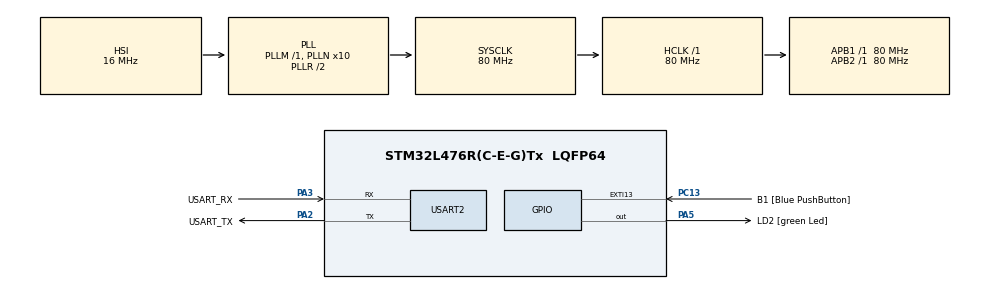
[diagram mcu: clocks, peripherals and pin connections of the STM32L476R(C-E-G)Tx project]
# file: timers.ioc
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Mcu.Family=STM32L4
Mcu.Name=STM32L476R(C-E-G)Tx
Mcu.Package=LQFP64
NVIC.PriorityGroup=NVIC_PRIORITYGROUP_4
NVIC.TIM6_DAC_IRQn=true\:0\:0\:false\:false\:true\:true\:true\:true
PA13\ (JTMS-SWDIO).GPIO_Label=TMS
PA13\ (JTMS-SWDIO).Mode=Serial_Wire
PA13\ (JTMS-SWDIO).Signal=SYS_JTMS-SWDIO
PA14\ (JTCK-SWCLK).GPIO_Label=TCK
PA14\ (JTCK-SWCLK).Mode=Serial_Wire
PA14\ (JTCK-SWCLK).Signal=SYS_JTCK-SWCLK
PA2.GPIO_Label=USART_TX
PA2.GPIO_Mode=GPIO_MODE_AF_PP
PA2.GPIO_PuPd=GPIO_NOPULL
PA2.GPIO_Speed=GPIO_SPEED_FREQ_VERY_HIGH
PA2.Mode=Asynchronous
PA2.Signal=USART2_TX
PA3.GPIO_Label=USART_RX
PA3.GPIO_Mode=GPIO_MODE_AF_PP
PA3.GPIO_PuPd=GPIO_NOPULL
PA3.GPIO_Speed=GPIO_SPEED_FREQ_VERY_HIGH
PA3.Mode=Asynchronous
PA3.Signal=USART2_RX
PA5.GPIO_Label=LD2 [green Led]
PA5.GPIO_ModeDefaultOutputPP=GPIO_MODE_OUTPUT_PP
PA5.GPIO_PuPd=GPIO_NOPULL
PA5.GPIO_Speed=GPIO_SPEED_FREQ_LOW
PA5.Signal=GPIO_Output
PB3\ (JTDO-TRACESWO).GPIO_Label=SWO
PB3\ (JTDO-TRACESWO).Signal=SYS_JTDO-SWO
PC13.GPIO_Label=B1 [Blue PushButton]
PC13.GPIO_ModeDefaultEXTI=GPIO_MODE_IT_FALLING
PC13.GPIO_PuPd=GPIO_NOPULL
PC13.Signal=GPXTI13
PC14-OSC32_IN\ (PC14).Mode=LSE-External-Oscillator
PC14-OSC32_IN\ (PC14).Signal=RCC_OSC32_IN
PC15-OSC32_OUT\ (PC15).Mode=LSE-External-Oscillator
PC15-OSC32_OUT\ (PC15).Signal=RCC_OSC32_OUT
PH0-OSC_IN\ (PH0).Signal=RCC_OSC_IN
PH1-OSC_OUT\ (PH1).Signal=RCC_OSC_OUT
ProjectManager.HeapSize=0x200
ProjectManager.StackSize=0x400
ProjectManager.TargetToolchain=STM32CubeIDE
RCC.ADCFreq_Value=64000000
RCC.AHBFreq_Value=80000000
RCC.APB1Freq_Value=80000000
RCC.APB1TimFreq_Value=80000000
RCC.APB2Freq_Value=80000000
RCC.APB2TimFreq_Value=80000000
RCC.CortexFreq_Value=80000000
RCC.HCLKFreq_Value=80000000
RCC.HSE_VALUE=8000000
RCC.HSI_VALUE=16000000
RCC.MSI_VALUE=4000000
RCC.PLLN=10
RCC.PLLSourceVirtual=RCC_PLLSOURCE_HSI
RCC.PREFETCH_ENABLE=1
RCC.SYSCLKFreq_VALUE=80000000
RCC.SYSCLKSource=RCC_SYSCLKSOURCE_PLLCLK
RCC.USBFreq_Value=64000000
RCC.VCOOutputFreq_Value=160000000
TIM6.Period=1999
TIM6.Prescaler=7999
USART2.VirtualMode-Asynchronous=VM_ASYNC
VP_TIM6_VS_ClockSourceINT.Mode=Enable_Timer
board=NUCLEO-L476RG

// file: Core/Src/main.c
/* USER CODE BEGIN Header */
/**
  ******************************************************************************
  * @file           : main.c
  * @brief          : Main program body
  ******************************************************************************
  * @attention
  *
  * Copyright (c) 2022 STMicroelectronics.
  * All rights reserved.
  *
  * This software is licensed under terms that can be found in the LICENSE file
  * in the root directory of this software component.
  * If no LICENSE file comes with this software, it is provided AS-IS.
  *
  ******************************************************************************
  */
/* USER CODE END Header */
#include "main.h"

/* USER CODE BEGIN Includes */
#include <stdio.h>
#include <string.h>
#include <stdlib.h>

/* USER CODE END Includes */

 TIM_HandleTypeDef htim6;

UART_HandleTypeDef huart2;

void SystemClock_Config(void);
static void MX_GPIO_Init(void);
static void MX_USART2_UART_Init(void);
static void MX_TIM6_Init(void);
/* USER CODE BEGIN PFP */
#define PUTCHAR_PROTOTYPE int __io_putchar(int ch)

/* USER CODE END PFP */

/* USER CODE BEGIN 0 */

/////////////////////////////////////////////////////////////////////////
// Led task definitions and functions
/////////////////////////////////////////////////////////////////////////

enum LedTaskState
{
	LedOn,
	LedOff,
};

enum LedTaskState ledState;
int ledCount;
int ledMaxCount;

void ledTask()
{
	if (ledState == LedOn)
	{
		if (ledCount++ >= ledMaxCount)
		{
			HAL_GPIO_TogglePin(LD2_GPIO_Port, LD2_Pin);
			ledCount = 0;
		}
	}
	else if (ledState == LedOff)
	{
		HAL_GPIO_WritePin(LD2_GPIO_Port, LD2_Pin, 0);
	}
}

void ledStart(int maxCount)
{
	ledState = LedOn;
	ledMaxCount = maxCount;
}

void ledStop()
{
	ledState = LedOff;
	HAL_GPIO_WritePin(LD2_GPIO_Port, LD2_Pin, 0);
}

/////////////////////////////////////////////////////////////////////////
// Communication task definitions and functions
/////////////////////////////////////////////////////////////////////////

#define MAX_BUFFER_LENGTH 100

uint8_t cmdbuffer[MAX_BUFFER_LENGTH];
int cmdcount = 0;

int commTask()
{
	uint8_t ch;

	HAL_StatusTypeDef Status = HAL_UART_Receive(&huart2, &ch, 1, 0);
	if (Status != HAL_OK) {
		return 0;
	}

	if (ch != '\r' && ch != '\n')
	{
		HAL_UART_Transmit(&huart2, &ch, 1, 0xFFFF);

		if (cmdcount >= MAX_BUFFER_LENGTH)
		{
			cmdcount = 0;
		}

		cmdbuffer[cmdcount++] = ch;
		return 0;
	}

	HAL_UART_Transmit(&huart2, (uint8_t*)"\r\n", 2, 0xFFFF);

	cmdbuffer[cmdcount] = 0;
	cmdcount = 0;
	return 1;
}

/////////////////////////////////////////////////////////////////////////
// REdirecting printf to UART
/////////////////////////////////////////////////////////////////////////
int _write(int fd, char* ptr, int len) {
    HAL_UART_Transmit(&huart2, (uint8_t *) ptr, len, HAL_MAX_DELAY);
    return len;
}

void handleCommand()
{
  char cmd[20];
  int maxCount = 20000;

  //int params = sscanf((const char*)cmdbuffer, "%s %d", cmd, &maxCount);
  int params = 0;

  char delim[2] = " ";
  char* res;

  res = strtok(cmdbuffer, delim);

  if(res == NULL)
  {
	  return;
  }

  while(res != NULL)
  {
	  if (strcmp(res, "start") == 0)
	  {
		  while(res != NULL)
		  {
			  res = strtok(NULL, delim);
			  maxCount = atoi(res);
			  if(maxCount > 0)
			  {
				  ledStart(maxCount);
				  return;
			  }

		  }
	  }
	  else if (strcmp(res, "stop") == 0)
	  {
		  ledStop();
		  return;
	  }

  }

  printf("Invalid command\r\n");

}

void HAL_TIM_PeriodElapsedCallback(TIM_HandleTypeDef * htim)
{

//		HAL_GPIO_TogglePin(LD2_GPIO_Port, LD2_Pin);
//		__HAL_TIM_SET_AUTORELOAD(&htim6, 5000);
//
//		printf("A\n\r");
}

/* USER CODE END 0 */

int main(void)
{

  /* MCU Configuration--------------------------------------------------------*/

  /* Reset of all peripherals, Initializes the Flash interface and the Systick. */
  HAL_Init();

  /* Configure the system clock */
  SystemClock_Config();

  /* Initialize all configured peripherals */
  MX_GPIO_Init();
  MX_USART2_UART_Init();
  MX_TIM6_Init();
  /* USER CODE BEGIN 2 */
  HAL_NVIC_EnableIRQ(TIM6_IRQn);

  HAL_TIM_Base_Start_IT(&htim6);
  /* USER CODE END 2 */

  /* Infinite loop */
  while (1)
  {
	  ledTask();
	  if (commTask())
	  {
		  handleCommand();
	  }
  }
}

void SystemClock_Config(void)
{
  RCC_OscInitTypeDef RCC_OscInitStruct = {0};
  RCC_ClkInitTypeDef RCC_ClkInitStruct = {0};

  /** Configure the main internal regulator output voltage
  */
  if (HAL_PWREx_ControlVoltageScaling(PWR_REGULATOR_VOLTAGE_SCALE1) != HAL_OK)
  {
    Error_Handler();
  }

  /** Initializes the RCC Oscillators according to the specified parameters
  * in the RCC_OscInitTypeDef structure.
  */
  RCC_OscInitStruct.OscillatorType = RCC_OSCILLATORTYPE_HSI;
  RCC_OscInitStruct.HSIState = RCC_HSI_ON;
  RCC_OscInitStruct.HSICalibrationValue = RCC_HSICALIBRATION_DEFAULT;
  RCC_OscInitStruct.PLL.PLLState = RCC_PLL_ON;
  RCC_OscInitStruct.PLL.PLLSource = RCC_PLLSOURCE_HSI;
  RCC_OscInitStruct.PLL.PLLM = 1;
  RCC_OscInitStruct.PLL.PLLN = 10;
  RCC_OscInitStruct.PLL.PLLP = RCC_PLLP_DIV7;
  RCC_OscInitStruct.PLL.PLLQ = RCC_PLLQ_DIV2;
  RCC_OscInitStruct.PLL.PLLR = RCC_PLLR_DIV2;
  if (HAL_RCC_OscConfig(&RCC_OscInitStruct) != HAL_OK)
  {
    Error_Handler();
  }

  /** Initializes the CPU, AHB and APB buses clocks
  */
  RCC_ClkInitStruct.ClockType = RCC_CLOCKTYPE_HCLK|RCC_CLOCKTYPE_SYSCLK
                              |RCC_CLOCKTYPE_PCLK1|RCC_CLOCKTYPE_PCLK2;
  RCC_ClkInitStruct.SYSCLKSource = RCC_SYSCLKSOURCE_PLLCLK;
  RCC_ClkInitStruct.AHBCLKDivider = RCC_SYSCLK_DIV1;
  RCC_ClkInitStruct.APB1CLKDivider = RCC_HCLK_DIV1;
  RCC_ClkInitStruct.APB2CLKDivider = RCC_HCLK_DIV1;

  if (HAL_RCC_ClockConfig(&RCC_ClkInitStruct, FLASH_LATENCY_4) != HAL_OK)
  {
    Error_Handler();
  }
}

static void MX_TIM6_Init(void)
{

  TIM_MasterConfigTypeDef sMasterConfig = {0};

  htim6.Instance = TIM6;
  htim6.Init.Prescaler = 7999;
  htim6.Init.CounterMode = TIM_COUNTERMODE_UP;
  htim6.Init.Period = 1999;
  htim6.Init.AutoReloadPreload = TIM_AUTORELOAD_PRELOAD_DISABLE;
  if (HAL_TIM_Base_Init(&htim6) != HAL_OK)
  {
    Error_Handler();
  }
  sMasterConfig.MasterOutputTrigger = TIM_TRGO_RESET;
  sMasterConfig.MasterSlaveMode = TIM_MASTERSLAVEMODE_DISABLE;
  if (HAL_TIMEx_MasterConfigSynchronization(&htim6, &sMasterConfig) != HAL_OK)
  {
    Error_Handler();
  }

}

static void MX_USART2_UART_Init(void)
{

  huart2.Instance = USART2;
  huart2.Init.BaudRate = 115200;
  huart2.Init.WordLength = UART_WORDLENGTH_8B;
  huart2.Init.StopBits = UART_STOPBITS_1;
  huart2.Init.Parity = UART_PARITY_NONE;
  huart2.Init.Mode = UART_MODE_TX_RX;
  huart2.Init.HwFlowCtl = UART_HWCONTROL_NONE;
  huart2.Init.OverSampling = UART_OVERSAMPLING_16;
  huart2.Init.OneBitSampling = UART_ONE_BIT_SAMPLE_DISABLE;
  huart2.AdvancedInit.AdvFeatureInit = UART_ADVFEATURE_NO_INIT;
  if (HAL_UART_Init(&huart2) != HAL_OK)
  {
    Error_Handler();
  }

}

static void MX_GPIO_Init(void)
{
  GPIO_InitTypeDef GPIO_InitStruct = {0};

  /* GPIO Ports Clock Enable */
  __HAL_RCC_GPIOC_CLK_ENABLE();
  __HAL_RCC_GPIOH_CLK_ENABLE();
  __HAL_RCC_GPIOA_CLK_ENABLE();
  __HAL_RCC_GPIOB_CLK_ENABLE();

  /*Configure GPIO pin Output Level */
  HAL_GPIO_WritePin(LD2_GPIO_Port, LD2_Pin, GPIO_PIN_RESET);

  /*Configure GPIO pin : B1_Pin */
  GPIO_InitStruct.Pin = B1_Pin;
  GPIO_InitStruct.Mode = GPIO_MODE_IT_FALLING;
  GPIO_InitStruct.Pull = GPIO_NOPULL;
  HAL_GPIO_Init(B1_GPIO_Port, &GPIO_InitStruct);

  /*Configure GPIO pin : LD2_Pin */
  GPIO_InitStruct.Pin = LD2_Pin;
  GPIO_InitStruct.Mode = GPIO_MODE_OUTPUT_PP;
  GPIO_InitStruct.Pull = GPIO_NOPULL;
  GPIO_InitStruct.Speed = GPIO_SPEED_FREQ_LOW;
  HAL_GPIO_Init(LD2_GPIO_Port, &GPIO_InitStruct);

}

/* USER CODE BEGIN 4 */
/**
  * @brief  Retargets the C library printf function to the USART.
  * @param  None
  * @retval None
  */
PUTCHAR_PROTOTYPE
{
  /* Place your implementation of fputc here */
  /* e.g. write a character to the USART1 and Loop until the end of transmission */
  HAL_UART_Transmit(&huart2, (uint8_t *)&ch, 1, 0xFFFF);

  return ch;
}
/* USER CODE END 4 */

void Error_Handler(void)
{
  __disable_irq();
  while (1)
  {
  }
}
